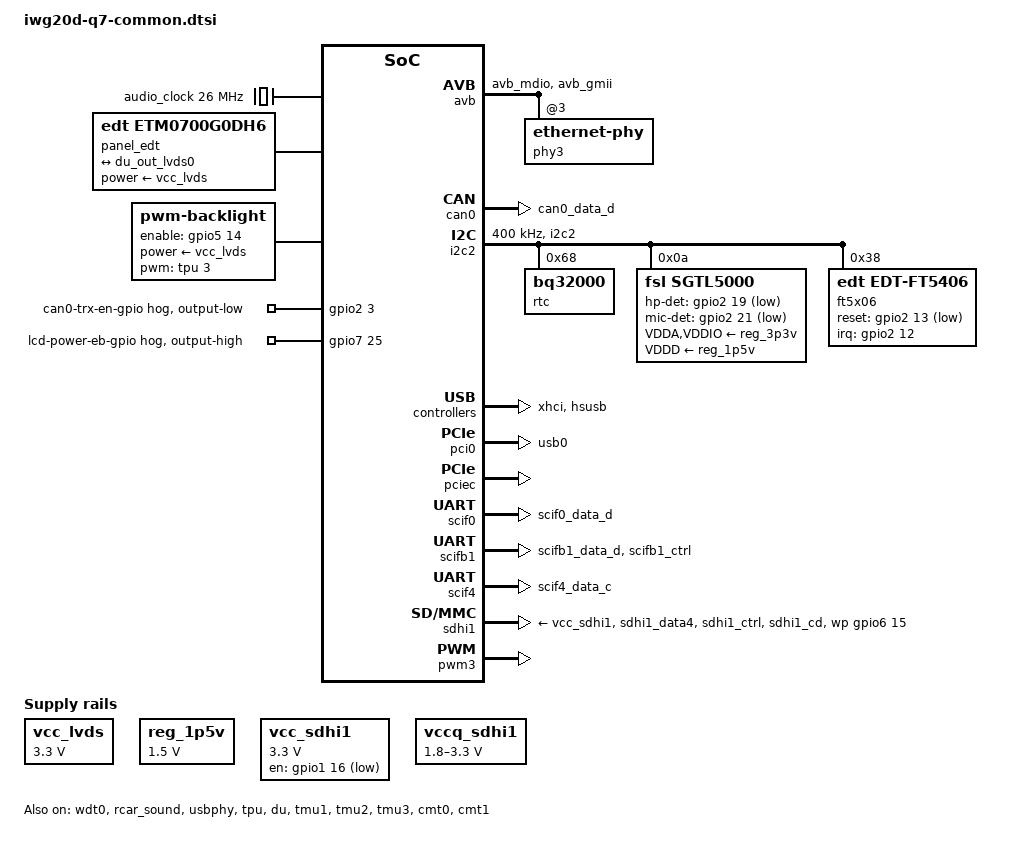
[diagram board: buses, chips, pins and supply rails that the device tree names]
/*
 * Device Tree Source for the iWave-RZ/G1M/G1N Qseven carrier board
 *
 * Copyright (C) 2017 Renesas Electronics Corp.
 *
 * This file is licensed under the terms of the GNU General Public License
 * version 2.  This program is licensed "as is" without any warranty of any
 * kind, whether express or implied.
 */

/*
 * SSI-SGTL5000
 *
 * This command is required when Playback/Capture
 *
 *      amixer set "DVC Out" 100%
 *      amixer set "DVC In" 100%
 *
 * You can use Mute
 *
 *      amixer set "DVC Out Mute" on
 *      amixer set "DVC In Mute" on
 *
 * You can use Volume Ramp
 *
 *      amixer set "DVC Out Ramp Up Rate"   "0.125 dB/64 steps"
 *      amixer set "DVC Out Ramp Down Rate" "0.125 dB/512 steps"
 *      amixer set "DVC Out Ramp" on
 *      aplay xxx.wav &
 *      amixer set "DVC Out"  80%  // Volume Down
 *      amixer set "DVC Out" 100%  // Volume Up
 */

/ {
	aliases {
		serial0 = &scif0;
		serial3 = &scifb1;
		serial2 = &scif4;
		ethernet0 = &avb;
		sata0	= &sata0;
		sata1	= &sata1;
		xhci	= &xhci;
		pciec	= &pciec;
		pcie_clk = &pcie_bus_clk;
	};

	chosen {
		bootargs = "ignore_loglevel rw root=/dev/nfs ip=dhcp";
		stdout-path = "serial0:115200n8";
	};

	vcc_lvds: regulator@4 {
		compatible = "regulator-fixed";

		regulator-name = "panel vcc";
		regulator-min-microvolt = <3300000>;
		regulator-max-microvolt = <3300000>;
		regulator-always-on;
	};

	x3_clk: x3-clock {
		compatible = "fixed-clock";
		#clock-cells = <0>;
		clock-frequency = <148500000>;
	};

	audio_clock: audio_clock {
		compatible = "fixed-clock";
		#clock-cells = <0>;
		clock-frequency = <26000000>;
	};

	reg_1p5v: 1p5v {
		compatible = "regulator-fixed";
		regulator-name = "1P5V";
		regulator-min-microvolt = <1500000>;
		regulator-max-microvolt = <1500000>;
		regulator-always-on;
	};

	rsnd_sgtl5000: sound {
		compatible = "simple-audio-card";

		simple-audio-card,format = "i2s";
		simple-audio-card,bitclock-master = <&sndcodec>;
		simple-audio-card,frame-master = <&sndcodec>;

		sndcpu: simple-audio-card,cpu {
			sound-dai = <&rcar_sound>;
		};

		sndcodec: simple-audio-card,codec {
			sound-dai = <&sgtl5000>;
		};
	};

	vcc_sdhi1: regulator-vcc-sdhi1 {
		compatible = "regulator-fixed";

		regulator-name = "SDHI1 Vcc";
		regulator-min-microvolt = <3300000>;
		regulator-max-microvolt = <3300000>;

		gpio = <&gpio1 16 GPIO_ACTIVE_LOW>;
	};

	vccq_sdhi1: regulator-vccq-sdhi1 {
		compatible = "regulator-gpio";

		regulator-name = "SDHI1 VccQ";
		regulator-min-microvolt = <1800000>;
		regulator-max-microvolt = <3300000>;

		gpios = <&gpio2 30 GPIO_ACTIVE_LOW>;
		gpios-states = <1>;
		states = <3300000 1
			  1800000 0>;
	};

	panel_edt: panel@0 {
		compatible = "edt,etm0700g0dh6", "simple-panel";
		power-supply = <&vcc_lvds>;

		ports {
			#address-cells = <1>;
			#size-cells = <0>;

			port@0 {
				#address-cells = <1>;
				#size-cells = <0>;
				reg = <0>;
				panel_input: endpoint {
					reg = <0>;
					remote-endpoint = <&du_out_lvds0>;
				};
			};
		};
	};

	backlight: backlight {
		compatible = "pwm-backlight";
		pwms = <&tpu 3 5000000 GPIO_ACTIVE_HIGH>;
		brightness-levels = <0 4 8 16 32 64 128 255>;
		default-brightness-level = <7>;
		power-supply = <&vcc_lvds>;
		enable-gpios = <&gpio5 14 0>;
		pinctrl-0 = <&backlight_pins>;
		pinctrl-names = "default";
	};
};

&avb {
	pinctrl-0 = <&avb_pins>;
	pinctrl-names = "default";

	phy-handle = <&phy3>;
	phy-mode = "gmii";
	renesas,no-ether-link;
	status = "okay";

	phy3: ethernet-phy@3 {
		reg = <3>;
		micrel,led-mode = <1>;
	};
};

&can0 {
	pinctrl-0 = <&can0_pins>;
	pinctrl-names = "default";

	status = "okay";
};

&gpio2 {
	can0-trx-en-gpio{
		gpio-hog;
		gpios = <3 GPIO_ACTIVE_HIGH>;
		output-low;
		line-name = "can0-trx-en-gpio";
	};
};

&i2c2 {
	pinctrl-0 = <&i2c2_pins>;
	pinctrl-names = "default";

	status = "okay";
	clock-frequency = <400000>;

	rtc@68 {
		compatible = "bq32000";
		reg = <0x68>;
	};

	sgtl5000: codec@a {
		compatible = "fsl,sgtl5000";
		#sound-dai-cells = <0>;
		reg = <0x0a>;
		clocks = <&audio_clock>;
		VDDA-supply = <&reg_3p3v>;
		VDDIO-supply = <&reg_3p3v>;
		VDDD-supply = <&reg_1p5v>;
		hp-det-gpios = <&gpio2 19 GPIO_ACTIVE_LOW>;
		mic-det-gpios = <&gpio2 21 GPIO_ACTIVE_LOW>;
	};

	ft5x06@38 {
		compatible = "edt,edt-ft5406";
		reg = <0x38>;
		interrupt-parent = <&gpio2>;
		interrupts = <12 IRQ_TYPE_EDGE_FALLING>;
		reset-gpios = <&gpio2 13 GPIO_ACTIVE_LOW>;
	};
};

&wdt0{
	status = "okay";
};

&xhci {
	status = "okay";
};

&pci0 {
	status = "okay";
	pinctrl-0 = <&usb0_pins>;
	pinctrl-names = "default";
};

&hsusb {
	status = "okay";
};

&pcie_bus_clk {
	clock-frequency = <100000000>;
};

&pciec {
	status = "okay";
};

&pfc {
	can0_pins: can0 {
		groups = "can0_data_d";
		function = "can0";
	};

	avb_pins: avb {
		groups = "avb_mdio", "avb_gmii";
		function = "avb";
	};

	i2c2_pins: i2c2 {
		groups = "i2c2";
		function = "i2c2";
	};

	scif0_pins: scif0 {
		groups = "scif0_data_d";
		function = "scif0";
	};

	scifb1_pins: scifb1 {
		groups = "scifb1_data_d", "scifb1_ctrl";
		function = "scifb1";
	};

	sdhi1_pins: sd1 {
		groups = "sdhi1_data4", "sdhi1_ctrl", "sdhi1_cd";
		function = "sdhi1";
		power-source = <3300>;
	};

	sound_pins: sound {
		groups = "ssi0129_ctrl", "ssi0_data", "ssi1_data";
		function = "ssi";
	};

	sdhi1_pins_uhs: sd2_uhs {
		groups = "sdhi1_data4", "sdhi1_ctrl", "sdhi1_cd";
		function = "sdhi1";
		power-source = <1800>;
	};

	usb0_pins: usb0 {
		groups = "usb0";
		function = "usb0";
	};

	usb1_pins: usb1 {
		groups = "usb1";
		function = "usb1";
	};

	scif4_pins: serial2 {
		groups = "scif4_data_c";
		function = "scif4";
	};

	backlight_pins: backlight {
		groups = "tpu_to3";
		function = "tpu";
	};

	pwm3_pins: pwm3 {
		groups = "pwm3";
		function = "pwm3";
	};

        du_pins: du {
                groups = "du_rgb888", "du_sync", "du_oddf", "du_clk_out_0";
                function = "du";
        };
};

&rcar_sound {
	pinctrl-0 = <&sound_pins>;
	pinctrl-names = "default";
	status = "okay";

	/* Single DAI */
	#sound-dai-cells = <0>;

	rcar_sound,dai {
		dai0 {
			playback = <&ssi1 &src3 &dvc1>;
			capture = <&ssi0 &src2 &dvc0>;
		};
	};
};

&scif0 {
	pinctrl-0 = <&scif0_pins>;
	pinctrl-names = "default";

	status = "okay";
};

&scifb1 {
	pinctrl-0 = <&scifb1_pins>;
	pinctrl-names = "default";

	uart-has-rtscts;
	status = "okay";
};

&scif4 {
	pinctrl-0 = <&scif4_pins>;
	pinctrl-names = "default";
	status = "okay";
};

&sdhi1 {
	pinctrl-0 = <&sdhi1_pins>;
	pinctrl-1 = <&sdhi1_pins_uhs>;
	pinctrl-names = "default", "uhs";

	vmmc-supply = <&vcc_sdhi1>;
	vqmmc-supply = <&vccq_sdhi1>;
	wp-gpios = <&gpio6 15 GPIO_ACTIVE_HIGH>;
	status = "okay";
};

&ssi1 {
	shared-pin;
};

&usbphy {
	status = "okay";
	renesas,id-gpio = <&gpio1 11 GPIO_ACTIVE_LOW>;
	renesas,vbus-gpio = <&gpio7 24 GPIO_ACTIVE_LOW>;
	renesas,vbus-pwr-gpio = <&gpio7 23 GPIO_ACTIVE_LOW>;
	renesas,wakeup;
};

&pwm3 {
	status = "okay";
};

&tpu {
	status = "okay";
};

&du {
	pinctrl-0 = <&du_pins>;
	pinctrl-names = "default";
	status = "okay";

	ports {
		port@1 {
			endpoint {
				remote-endpoint = <&panel_input>;
			};
		};
	};
};

&gpio7 {
	lcd-power-eb-gpio{
		gpio-hog;
		gpios = <25 GPIO_ACTIVE_HIGH>;
		output-high;
		line-name = "lcd-power-eb-gpio";
	};
};

&tmu1 {
	status = "okay";
};

&tmu2 {
	status = "okay";
};

&tmu3 {
	status = "okay";
};

&cmt0 {
	status = "okay";
};

&cmt1 {
	status = "okay";
};
